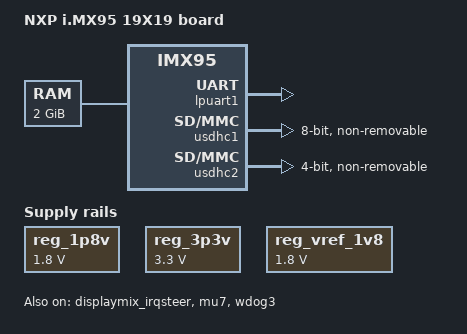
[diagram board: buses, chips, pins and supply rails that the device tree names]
// SPDX-License-Identifier: (GPL-2.0+ OR MIT)
/*
 * Copyright 2024 NXP
 */

/dts-v1/;

#include "imx95.dtsi"

/ {
	model = "NXP i.MX95 19X19 board";
	compatible = "fsl,imx95-19x19-evk", "fsl,imx95";

	chosen {
		stdout-path = &lpuart1;
	};

	memory@80000000 {
		device_type = "memory";
		reg = <0x0 0x80000000 0 0x80000000>;
	};

	reserved-memory {
		#address-cells = <2>;
		#size-cells = <2>;
		ranges;

		linux_cma: linux,cma {
			compatible = "shared-dma-pool";
			reusable;
			size = <0 0x3c000000>;
			alloc-ranges = <0 0x80000000 0 0x7F000000>;
			linux,cma-default;
		};
	};

	reg_1p8v: regulator-1p8v {
		compatible = "regulator-fixed";
		regulator-max-microvolt = <1800000>;
		regulator-min-microvolt = <1800000>;
		regulator-name = "+V1.8_SW";
	};

	reg_3p3v: regulator-3p3v {
		compatible = "regulator-fixed";
		regulator-max-microvolt = <3300000>;
		regulator-min-microvolt = <3300000>;
		regulator-name = "+V3.3_SW";
	};

	reg_vref_1v8: regulator-adc-vref {
		compatible = "regulator-fixed";
		regulator-name = "vref_1v8";
		regulator-min-microvolt = <1800000>;
		regulator-max-microvolt = <1800000>;
	};
};

&displaymix_irqsteer {
	status = "okay";
};

&lpuart1 {
	/* console */
	status = "okay";
};

&mu7 {
	status = "okay";
};

&usdhc1 {
	bus-width = <8>;
	non-removable;
	no-sdio;
	no-sd;
	status = "okay";
};

&usdhc2 {
	non-removable;
	bus-width = <4>;
	status = "okay";
};

&wdog3 {
	status = "okay";
};
